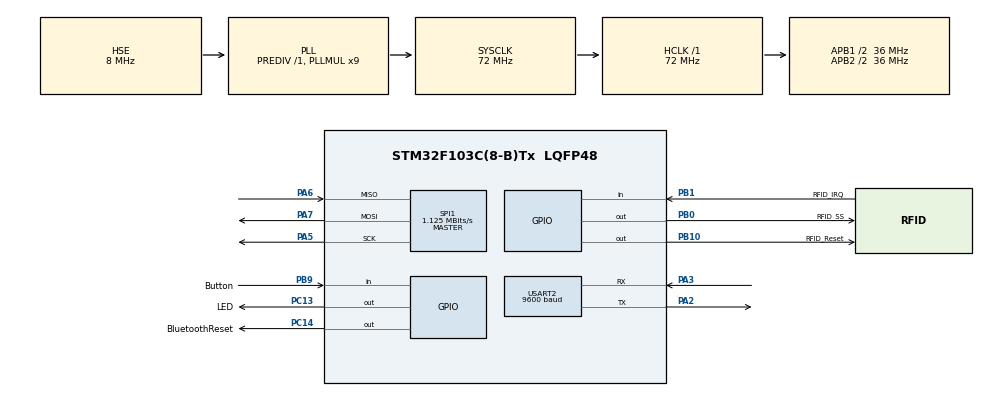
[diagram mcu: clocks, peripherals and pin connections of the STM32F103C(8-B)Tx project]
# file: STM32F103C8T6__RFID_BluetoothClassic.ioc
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Mcu.Family=STM32F1
Mcu.Name=STM32F103C(8-B)Tx
Mcu.Package=LQFP48
NVIC.PriorityGroup=NVIC_PRIORITYGROUP_4
NVIC.TIM2_IRQn=true\:0\:0\:false\:false\:true\:true\:true
NVIC.USART2_IRQn=true\:0\:0\:false\:false\:true\:true\:true
PA13.Mode=Serial_Wire
PA13.Signal=SYS_JTMS-SWDIO
PA14.Mode=Serial_Wire
PA14.Signal=SYS_JTCK-SWCLK
PA2.Mode=Asynchronous
PA2.Signal=USART2_TX
PA3.Mode=Asynchronous
PA3.Signal=USART2_RX
PA5.Mode=Full_Duplex_Master
PA5.Signal=SPI1_SCK
PA6.Mode=Full_Duplex_Master
PA6.Signal=SPI1_MISO
PA7.Mode=Full_Duplex_Master
PA7.Signal=SPI1_MOSI
PB0.GPIO_Label=RFID_SS
PB0.GPIO_Speed=GPIO_SPEED_FREQ_HIGH
PB0.PinState=GPIO_PIN_SET
PB0.Signal=GPIO_Output
PB1.GPIO_Label=RFID_IRQ
PB1.Signal=GPIO_Input
PB10.GPIO_Label=RFID_Reset
PB10.GPIO_Speed=GPIO_SPEED_FREQ_HIGH
PB10.Signal=GPIO_Output
PB9.GPIO_Label=Button
PB9.GPIO_PuPd=GPIO_PULLUP
PB9.Signal=GPIO_Input
PC13-TAMPER-RTC.GPIO_Label=LED
PC13-TAMPER-RTC.GPIO_Speed=GPIO_SPEED_FREQ_HIGH
PC13-TAMPER-RTC.PinState=GPIO_PIN_SET
PC13-TAMPER-RTC.Signal=GPIO_Output
PC14-OSC32_IN.GPIO_Label=BluetoothReset
PC14-OSC32_IN.GPIO_Speed=GPIO_SPEED_FREQ_HIGH
PC14-OSC32_IN.Signal=GPIO_Output
PD0-OSC_IN.Mode=HSE-External-Oscillator
PD0-OSC_IN.Signal=RCC_OSC_IN
PD1-OSC_OUT.Mode=HSE-External-Oscillator
PD1-OSC_OUT.Signal=RCC_OSC_OUT
ProjectManager.HeapSize=0x200
ProjectManager.StackSize=0x400
ProjectManager.TargetToolchain=STM32CubeIDE
RCC.AHBFreq_Value=72000000
RCC.APB1CLKDivider=RCC_HCLK_DIV2
RCC.APB1Freq_Value=36000000
RCC.APB1TimFreq_Value=72000000
RCC.APB2CLKDivider=RCC_HCLK_DIV2
RCC.APB2Freq_Value=36000000
RCC.APB2TimFreq_Value=72000000
RCC.HCLKFreq_Value=72000000
RCC.PLLMUL=RCC_PLL_MUL9
RCC.PLLSourceVirtual=RCC_PLLSOURCE_HSE
RCC.SYSCLKFreq_VALUE=72000000
RCC.SYSCLKSource=RCC_SYSCLKSOURCE_PLLCLK
RCC.USBFreq_Value=72000000
SPI1.BaudRatePrescaler=SPI_BAUDRATEPRESCALER_32
SPI1.CalculateBaudRate=1.125 MBits/s
SPI1.Direction=SPI_DIRECTION_2LINES
SPI1.FirstBit=SPI_FIRSTBIT_LSB
SPI1.Mode=SPI_MODE_MASTER
SPI1.VirtualType=VM_MASTER
TIM2.Period=1999
TIM2.Prescaler=720
USART2.BaudRate=9600
USART2.VirtualMode=VM_ASYNC
VP_TIM2_VS_ClockSourceINT.Mode=Internal
board=custom

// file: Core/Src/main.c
/* USER CODE BEGIN Header */
/**
  ******************************************************************************
  * @file           : main.c
  * @brief          : Main program body
  ******************************************************************************
  * @attention
  *
  * <h2><center>&copy; Copyright (c) 2020 STMicroelectronics.
  * All rights reserved.</center></h2>
  *
  * This software component is licensed by ST under BSD 3-Clause license,
  * the "License"; You may not use this file except in compliance with the
  * License. You may obtain a copy of the License at:
  *                        opensource.org/licenses/BSD-3-Clause
  *
  ******************************************************************************
  */
/* USER CODE END Header */

#include "main.h"

/* USER CODE BEGIN Includes */
#include "mylibrary.h"
#include "pn532_stm32f1.h"
#include <stdio.h>
/* USER CODE END Includes */

/* USER CODE BEGIN PD */
#define use_HEXADECIMAL
/* USER CODE END PD */

SPI_HandleTypeDef hspi1;

TIM_HandleTypeDef htim2;

UART_HandleTypeDef huart2;

void SystemClock_Config(void);
static void MX_GPIO_Init(void);
static void MX_SPI1_Init(void);
static void MX_TIM2_Init(void);
static void MX_USART2_UART_Init(void);

int main(void)
{

  /* MCU Configuration--------------------------------------------------------*/

  /* Reset of all peripherals, Initializes the Flash interface and the Systick. */
  HAL_Init();

  /* Configure the system clock */
  SystemClock_Config();

  /* Initialize all configured peripherals */
  MX_GPIO_Init();
  MX_SPI1_Init();
  MX_TIM2_Init();
  MX_USART2_UART_Init();
  /* USER CODE BEGIN 2 */
  HAL_Delay(200);
  HAL_GPIO_WritePin(BluetoothReset_GPIO_Port, BluetoothReset_Pin, SET);
  HAL_Delay(1000);
  memset(buffer, 0, sizeof(buffer));
  HAL_TIM_Base_Start_IT(&htim2);
  __HAL_UART_ENABLE_IT(&huart2, UART_IT_RXNE);

  uint8_t buff[255];
  uint8_t uid[MIFARE_UID_MAX_LENGTH];
  int32_t uid_len = 0;

  PN532 pn532;
  PN532_SPI_Init(&pn532);
  if (PN532_GetFirmwareVersion(&pn532, buff) != PN532_STATUS_OK)
  {
    while(1)
    {
    	HAL_GPIO_WritePin(LED_GPIO_Port, LED_Pin, SET);
    	HAL_Delay(250);
    	HAL_GPIO_WritePin(LED_GPIO_Port, LED_Pin, RESET);
    	HAL_Delay(250);
    }
  }
  PN532_SamConfiguration(&pn532);
  /* USER CODE END 2 */

  /* Infinite loop */
  while (1)
  {

    /* USER CODE BEGIN 3 */
	  	memset(uid, 0, sizeof(uid));
	    uid_len = PN532_ReadPassiveTarget(&pn532, uid, PN532_MIFARE_ISO14443A, 1000);
	    if (uid_len != PN532_STATUS_ERROR)
	    {
	    	HAL_GPIO_WritePin(LED_GPIO_Port, LED_Pin, RESET);
	    	memset(buffer, 0, sizeof(buffer));
	    	char stringForHex[5];
	    	for(uint8_t i=0; i<uid_len; i++)
	    	{
	    		memset(stringForHex, 0, sizeof(stringForHex));
				#ifdef use_HEXADECIMAL
	    		sprintf(stringForHex, "%02X ", (unsigned char)uid[i]);
				#else
	    		sprintf(stringForHex, "%d ", (unsigned char)uid[i]);
				#endif
	    		strcat(buffer, stringForHex);
	    	}
	    	buffer[strlen(buffer)-1] = '\n';
	    	HAL_UART_Transmit(&huart2, (uint8_t*)buffer, strlen(buffer), 500);
	    	HAL_GPIO_WritePin(LED_GPIO_Port, LED_Pin, SET);
	    	HAL_Delay(1000);
	    }
  }
  /* USER CODE END 3 */
}

void SystemClock_Config(void)
{
  RCC_OscInitTypeDef RCC_OscInitStruct = {0};
  RCC_ClkInitTypeDef RCC_ClkInitStruct = {0};

  /** Initializes the CPU, AHB and APB busses clocks
  */
  RCC_OscInitStruct.OscillatorType = RCC_OSCILLATORTYPE_HSE;
  RCC_OscInitStruct.HSEState = RCC_HSE_ON;
  RCC_OscInitStruct.HSEPredivValue = RCC_HSE_PREDIV_DIV1;
  RCC_OscInitStruct.HSIState = RCC_HSI_ON;
  RCC_OscInitStruct.PLL.PLLState = RCC_PLL_ON;
  RCC_OscInitStruct.PLL.PLLSource = RCC_PLLSOURCE_HSE;
  RCC_OscInitStruct.PLL.PLLMUL = RCC_PLL_MUL9;
  if (HAL_RCC_OscConfig(&RCC_OscInitStruct) != HAL_OK)
  {
    Error_Handler();
  }
  /** Initializes the CPU, AHB and APB busses clocks
  */
  RCC_ClkInitStruct.ClockType = RCC_CLOCKTYPE_HCLK|RCC_CLOCKTYPE_SYSCLK
                              |RCC_CLOCKTYPE_PCLK1|RCC_CLOCKTYPE_PCLK2;
  RCC_ClkInitStruct.SYSCLKSource = RCC_SYSCLKSOURCE_PLLCLK;
  RCC_ClkInitStruct.AHBCLKDivider = RCC_SYSCLK_DIV1;
  RCC_ClkInitStruct.APB1CLKDivider = RCC_HCLK_DIV2;
  RCC_ClkInitStruct.APB2CLKDivider = RCC_HCLK_DIV2;

  if (HAL_RCC_ClockConfig(&RCC_ClkInitStruct, FLASH_LATENCY_2) != HAL_OK)
  {
    Error_Handler();
  }
}

static void MX_SPI1_Init(void)
{

  /* SPI1 parameter configuration*/
  hspi1.Instance = SPI1;
  hspi1.Init.Mode = SPI_MODE_MASTER;
  hspi1.Init.Direction = SPI_DIRECTION_2LINES;
  hspi1.Init.DataSize = SPI_DATASIZE_8BIT;
  hspi1.Init.CLKPolarity = SPI_POLARITY_LOW;
  hspi1.Init.CLKPhase = SPI_PHASE_1EDGE;
  hspi1.Init.NSS = SPI_NSS_SOFT;
  hspi1.Init.BaudRatePrescaler = SPI_BAUDRATEPRESCALER_32;
  hspi1.Init.FirstBit = SPI_FIRSTBIT_LSB;
  hspi1.Init.TIMode = SPI_TIMODE_DISABLE;
  hspi1.Init.CRCCalculation = SPI_CRCCALCULATION_DISABLE;
  hspi1.Init.CRCPolynomial = 10;
  if (HAL_SPI_Init(&hspi1) != HAL_OK)
  {
    Error_Handler();
  }

}

static void MX_TIM2_Init(void)
{

  TIM_ClockConfigTypeDef sClockSourceConfig = {0};
  TIM_MasterConfigTypeDef sMasterConfig = {0};

  htim2.Instance = TIM2;
  htim2.Init.Prescaler = 720;
  htim2.Init.CounterMode = TIM_COUNTERMODE_UP;
  htim2.Init.Period = 1999;
  htim2.Init.ClockDivision = TIM_CLOCKDIVISION_DIV1;
  htim2.Init.AutoReloadPreload = TIM_AUTORELOAD_PRELOAD_DISABLE;
  if (HAL_TIM_Base_Init(&htim2) != HAL_OK)
  {
    Error_Handler();
  }
  sClockSourceConfig.ClockSource = TIM_CLOCKSOURCE_INTERNAL;
  if (HAL_TIM_ConfigClockSource(&htim2, &sClockSourceConfig) != HAL_OK)
  {
    Error_Handler();
  }
  sMasterConfig.MasterOutputTrigger = TIM_TRGO_RESET;
  sMasterConfig.MasterSlaveMode = TIM_MASTERSLAVEMODE_DISABLE;
  if (HAL_TIMEx_MasterConfigSynchronization(&htim2, &sMasterConfig) != HAL_OK)
  {
    Error_Handler();
  }

}

static void MX_USART2_UART_Init(void)
{

  huart2.Instance = USART2;
  huart2.Init.BaudRate = 9600;
  huart2.Init.WordLength = UART_WORDLENGTH_8B;
  huart2.Init.StopBits = UART_STOPBITS_1;
  huart2.Init.Parity = UART_PARITY_NONE;
  huart2.Init.Mode = UART_MODE_TX_RX;
  huart2.Init.HwFlowCtl = UART_HWCONTROL_NONE;
  huart2.Init.OverSampling = UART_OVERSAMPLING_16;
  if (HAL_UART_Init(&huart2) != HAL_OK)
  {
    Error_Handler();
  }

}

static void MX_GPIO_Init(void)
{
  GPIO_InitTypeDef GPIO_InitStruct = {0};

  /* GPIO Ports Clock Enable */
  __HAL_RCC_GPIOC_CLK_ENABLE();
  __HAL_RCC_GPIOD_CLK_ENABLE();
  __HAL_RCC_GPIOA_CLK_ENABLE();
  __HAL_RCC_GPIOB_CLK_ENABLE();

  /*Configure GPIO pin Output Level */
  HAL_GPIO_WritePin(LED_GPIO_Port, LED_Pin, GPIO_PIN_SET);

  /*Configure GPIO pin Output Level */
  HAL_GPIO_WritePin(BluetoothReset_GPIO_Port, BluetoothReset_Pin, GPIO_PIN_RESET);

  /*Configure GPIO pin Output Level */
  HAL_GPIO_WritePin(RFID_SS_GPIO_Port, RFID_SS_Pin, GPIO_PIN_SET);

  /*Configure GPIO pin Output Level */
  HAL_GPIO_WritePin(RFID_Reset_GPIO_Port, RFID_Reset_Pin, GPIO_PIN_RESET);

  /*Configure GPIO pins : LED_Pin BluetoothReset_Pin */
  GPIO_InitStruct.Pin = LED_Pin|BluetoothReset_Pin;
  GPIO_InitStruct.Mode = GPIO_MODE_OUTPUT_PP;
  GPIO_InitStruct.Pull = GPIO_NOPULL;
  GPIO_InitStruct.Speed = GPIO_SPEED_FREQ_HIGH;
  HAL_GPIO_Init(GPIOC, &GPIO_InitStruct);

  /*Configure GPIO pins : RFID_SS_Pin RFID_Reset_Pin */
  GPIO_InitStruct.Pin = RFID_SS_Pin|RFID_Reset_Pin;
  GPIO_InitStruct.Mode = GPIO_MODE_OUTPUT_PP;
  GPIO_InitStruct.Pull = GPIO_NOPULL;
  GPIO_InitStruct.Speed = GPIO_SPEED_FREQ_HIGH;
  HAL_GPIO_Init(GPIOB, &GPIO_InitStruct);

  /*Configure GPIO pin : RFID_IRQ_Pin */
  GPIO_InitStruct.Pin = RFID_IRQ_Pin;
  GPIO_InitStruct.Mode = GPIO_MODE_INPUT;
  GPIO_InitStruct.Pull = GPIO_NOPULL;
  HAL_GPIO_Init(RFID_IRQ_GPIO_Port, &GPIO_InitStruct);

  /*Configure GPIO pin : Button_Pin */
  GPIO_InitStruct.Pin = Button_Pin;
  GPIO_InitStruct.Mode = GPIO_MODE_INPUT;
  GPIO_InitStruct.Pull = GPIO_PULLUP;
  HAL_GPIO_Init(Button_GPIO_Port, &GPIO_InitStruct);

}

void Error_Handler(void)
{
}

/************************ (C) COPYRIGHT STMicroelectronics *****END OF FILE****/
